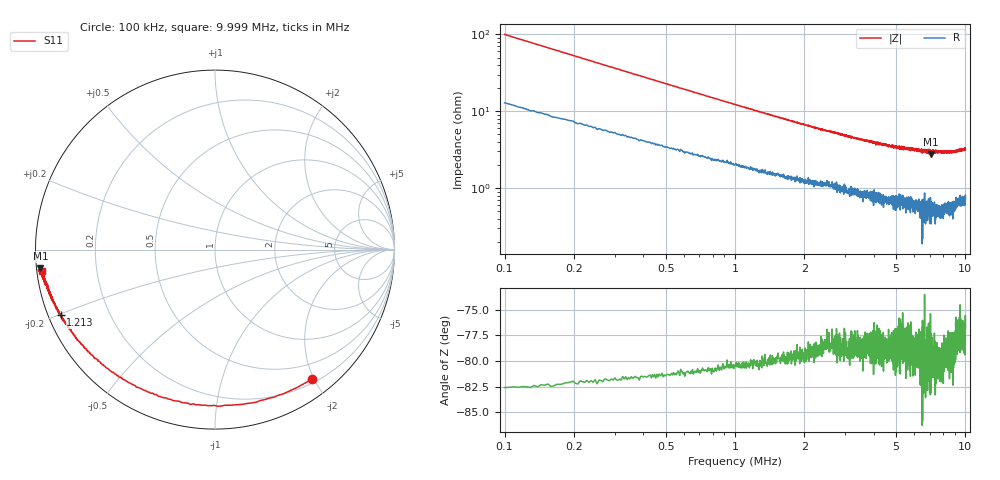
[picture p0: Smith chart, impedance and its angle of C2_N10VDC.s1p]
# HZ S RI R 50
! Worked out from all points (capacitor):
!   2020 points, 100 kHz to 9.999 MHz, reference 50 ohm
!   read as one part to ground: C = 15.1 nF near 149 kHz
!   lowest |Z| = 2.75 ohm at 7.067 MHz (marker M1)
!   S11 on the Smith chart (normalised r, x): 100 kHz: 0.26, -1.98; 1.213 MHz: 0.04, -0.20; 9.999 MHz: 0.01, -0.06
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100000  0.5423 -0.72
114709  0.4581 -0.7677
134321  0.3536 -0.811
158836  0.2319 -0.8495
183351  0.1189 -0.8641
227478  -0.0552 -0.8663
271605  -0.1971 -0.846
310829  -0.292 -0.8239
354956  -0.3862 -0.7854
403986  -0.469 -0.7462
457919  -0.5402 -0.7022
526561  -0.6109 -0.653
585397  -0.6556 -0.6135
654039  -0.6999 -0.5708
742293  -0.7439 -0.5266
943316  -0.8096 -0.4411
1212981  -0.8596 -0.3652
1340459  -0.876 -0.3405
1850371  -0.9125 -0.2598
2183775  -0.927 -0.2301
2576015  -0.934 -0.2059
3816474  -0.9587 -0.1542
5052030  -0.9643 -0.1325
6287586  -0.9704 -0.1163
7067163  -0.9728 -0.1052
7528045  -0.9743 -0.1185
8763601  -0.9725 -0.114
9999157  -0.9641 -0.1201
